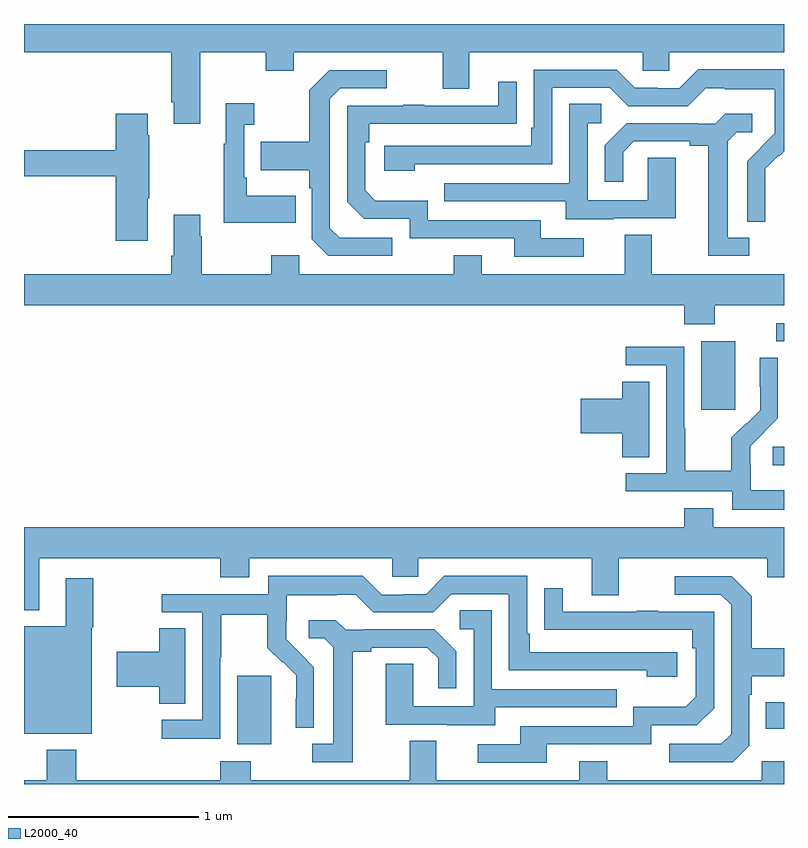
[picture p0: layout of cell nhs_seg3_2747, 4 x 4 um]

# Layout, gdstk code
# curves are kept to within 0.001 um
import gdstk
lib = gdstk.Library(unit=1e-6, precision=1e-09)
def R(c, l, rs):  # rectangles x0, y0, x1, y1
    for r in rs: c.add(gdstk.rectangle(r[:2], r[2:], *l))
def P(c, l, *ps):  # polygons
    for p in ps: c.add(gdstk.Polygon(p, *l))
L2000_40 = (2000, 40)

nhs_seg3_2747 = lib.new_cell('nhs_seg3_2747')
R(nhs_seg3_2747, L2000_40, [(254.123,694.61,254.302,694.971), (256.903,694.691,257,694.831), (256.941,696.077,257,696.174), (256.565,696.369,256.744,696.73), (256.959,696.729,257,696.825)])
P(nhs_seg3_2747, L2000_40, [(256.395,698.252),(257,698.252),(257,698.4),(253,698.4),(253,698.252),(253.775,698.252),(253.775,697.987),(253.787,697.987),(253.787,697.875),(253.927,697.875),(253.927,698.252),(254.272,698.252),(254.272,698.153),(254.419,698.153),(254.419,698.252),(255.203,698.252),(255.203,698.058),(255.343,698.058),(255.343,698.252),(256.257,698.252),(256.257,698.154),(256.395,698.154)],
  [(256.902,697.514),(256.901,697.637),(256.971,697.707),(256.974,697.704),(257,697.73),(257,698.161),(256.549,698.161),(256.449,698.061),(256.334,698.061),(256.334,698.064),(256.215,698.064),(256.119,698.16),(255.684,698.16),(255.684,697.855),(255.671,697.855),(255.671,697.758),(254.895,697.758),(254.895,697.628),(255.056,697.628),(255.056,697.662),(255.78,697.662),(255.78,698.064),(256.083,698.064),(256.179,697.968),(256.494,697.968),(256.587,698.061),(256.687,698.061),(256.687,698.057),(256.95,698.057),(256.95,697.923),(256.952,697.923),(256.952,697.826),(256.806,697.678),(256.806,697.36),(256.902,697.36)],
  [(254.938,697.275),(254.661,697.275),(254.61,697.326),(254.61,698.007),(254.664,698.061),(254.908,698.061),(254.908,698.157),(254.607,698.157),(254.502,698.051),(254.502,697.779),(254.245,697.779),(254.245,697.631),(254.502,697.631),(254.502,697.535),(254.514,697.535),(254.514,697.266),(254.601,697.179),(254.938,697.179)],
  [(255.946,697.272),(255.721,697.272),(255.721,697.368),(255.126,697.368),(255.126,697.471),(254.849,697.471),(254.796,697.524),(254.796,697.778),(254.816,697.778),(254.816,697.875),(255.593,697.876),(255.593,698.095),(255.497,698.095),(255.497,697.971),(255.107,697.971),(255.107,697.976),(254.995,697.976),(254.995,697.971),(254.7,697.971),(254.7,697.464),(254.79,697.374),(255.03,697.374),(255.03,697.272),(255.581,697.272),(255.581,697.176),(255.946,697.176)],
  [(254.429,697.495),(254.173,697.495),(254.173,697.591),(254.16,697.591),(254.16,697.871),(254.212,697.871),(254.212,697.984),(254.063,697.984),(254.063,697.771),(254.052,697.771),(254.052,697.355),(254.429,697.355)],
  [(256.105,697.377),(256.429,697.377),(256.429,697.697),(256.284,697.697),(256.284,697.473),(255.966,697.473),(255.966,697.878),(256.039,697.878),(256.039,697.979),(255.87,697.979),(255.87,697.563),(255.211,697.563),(255.211,697.467),(255.851,697.467),(255.851,697.373),(256.105,697.373)],
  [(256.816,697.275),(256.705,697.275),(256.705,697.783),(256.752,697.83),(256.834,697.83),(256.834,697.927),(256.69,697.927),(256.638,697.875),(256.544,697.875),(256.544,697.878),(256.172,697.878),(256.056,697.762),(256.056,697.569),(256.153,697.569),(256.153,697.725),(256.21,697.782),(256.505,697.782),(256.505,697.76),(256.601,697.76),(256.601,697.179),(256.816,697.179)],
  [(253.651,697.483),(253.659,697.483),(253.659,697.814),(253.651,697.814),(253.651,697.927),(253.484,697.927),(253.484,697.736),(253,697.736),(253,697.6),(253.484,697.6),(253.484,697.26),(253.651,697.26)],
  [(256.635,696.92),(257,696.92),(257,697.084),(256.303,697.084),(256.303,697.292),(256.163,697.292),(256.163,697.084),(255.409,697.084),(255.409,697.183),(255.262,697.183),(255.262,697.084),(254.448,697.084),(254.448,697.183),(254.302,697.183),(254.302,697.084),(253.935,697.084),(253.935,697.283),(253.927,697.283),(253.927,697.396),(253.787,697.396),(253.787,697.18),(253.775,697.18),(253.775,697.084),(253,697.084),(253,696.92),(256.475,696.92),(256.475,696.821),(256.635,696.821)],
  [(257,695.947),(256.824,695.947),(256.824,696.081),(256.822,696.081),(256.822,696.178),(256.968,696.326),(256.968,696.644),(256.872,696.644),(256.872,696.49),(256.874,696.49),(256.874,696.368),(256.803,696.297),(256.8,696.3),(256.723,696.223),(256.723,696.049),(256.479,696.049),(256.479,696.272),(256.476,696.272),(256.476,696.702),(256.166,696.702),(256.166,696.603),(256.38,696.603),(256.38,696.036),(256.166,696.036),(256.166,695.94),(256.728,695.94),(256.728,695.843),(257,695.843)],
  [(256.291,696.518),(256.148,696.518),(256.148,696.428),(255.93,696.428),(255.93,696.245),(256.148,696.245),(256.148,696.121),(256.291,696.121)],
  [(256.627,695.851),(256.475,695.851),(256.475,695.752),(253,695.752),(253,695.315),(253.081,695.315),(253.081,695.588),(254.033,695.588),(254.033,695.489),(254.185,695.489),(254.185,695.588),(254.937,695.588),(254.937,695.49),(255.075,695.49),(255.075,695.588),(255.989,695.588),(255.989,695.394),(256.129,695.394),(256.129,695.588),(256.913,695.588),(256.913,695.489),(257,695.489),(257,695.752),(256.627,695.752)],
  [(254.034,695.068),(254.037,695.068),(254.037,695.292),(254.281,695.292),(254.281,695.117),(254.358,695.04),(254.361,695.043),(254.432,694.973),(254.432,694.85),(254.43,694.85),(254.43,694.696),(254.526,694.696),(254.526,695.014),(254.38,695.162),(254.38,695.259),(254.382,695.259),(254.382,695.393),(254.645,695.393),(254.645,695.397),(254.745,695.397),(254.838,695.304),(255.153,695.304),(255.249,695.4),(255.552,695.4),(255.552,694.998),(256.277,694.998),(256.277,694.964),(256.438,694.964),(256.438,695.094),(255.661,695.094),(255.661,695.191),(255.648,695.191),(255.648,695.496),(255.213,695.496),(255.117,695.4),(254.999,695.4),(254.999,695.397),(254.883,695.397),(254.783,695.497),(254.286,695.497),(254.286,695.4),(253.725,695.4),(253.725,695.304),(253.938,695.304),(253.938,694.737),(253.725,694.737),(253.725,694.639),(254.034,694.639)],
  [(256.818,694.602),(256.818,694.871),(256.831,694.871),(256.831,694.967),(257,694.967),(257,695.115),(256.831,695.115),(256.831,695.387),(256.725,695.493),(256.425,695.493),(256.425,695.397),(256.668,695.397),(256.722,695.343),(256.722,694.662),(256.671,694.611),(256.395,694.611),(256.395,694.515),(256.731,694.515)],
  [(253.357,695.226),(253.365,695.226),(253.365,695.482),(253.22,695.482),(253.22,695.23),(253,695.23),(253,694.664),(253.357,694.664)],
  [(255.751,694.608),(256.302,694.608),(256.302,694.71),(256.542,694.71),(256.632,694.8),(256.632,695.307),(256.337,695.307),(256.337,695.312),(256.225,695.312),(256.225,695.307),(255.835,695.307),(255.835,695.431),(255.739,695.431),(255.739,695.212),(256.516,695.211),(256.516,695.114),(256.536,695.114),(256.536,694.86),(256.483,694.807),(256.206,694.807),(256.206,694.704),(255.611,694.704),(255.611,694.608),(255.387,694.608),(255.387,694.512),(255.751,694.512)],
  [(255.481,694.803),(256.121,694.803),(256.121,694.899),(255.462,694.899),(255.462,695.315),(255.294,695.315),(255.294,695.214),(255.366,695.214),(255.366,694.809),(255.048,694.809),(255.048,695.033),(254.903,695.033),(254.903,694.713),(255.227,694.713),(255.227,694.709),(255.481,694.709)],
  [(254.731,695.096),(254.827,695.096),(254.827,695.118),(255.122,695.118),(255.179,695.061),(255.179,694.905),(255.276,694.905),(255.276,695.098),(255.16,695.214),(254.788,695.214),(254.788,695.211),(254.694,695.211),(254.642,695.263),(254.499,695.263),(254.499,695.166),(254.58,695.166),(254.627,695.119),(254.627,694.611),(254.517,694.611),(254.517,694.515),(254.731,694.515)],
  [(253.849,695.219),(253.711,695.219),(253.711,695.096),(253.488,695.096),(253.488,694.913),(253.711,694.913),(253.711,694.822),(253.849,694.822)],
  [(257,694.519),(256.884,694.519),(256.884,694.42),(256.071,694.42),(256.071,694.519),(255.923,694.519),(255.923,694.42),(255.169,694.42),(255.169,694.628),(255.029,694.628),(255.029,694.42),(254.193,694.42),(254.193,694.519),(254.033,694.519),(254.033,694.42),(253.274,694.42),(253.274,694.579),(253.121,694.579),(253.121,694.42),(253,694.42),(253,694.4),(257,694.4)])

lib.write_gds('nhs_seg3_2747.gds')
